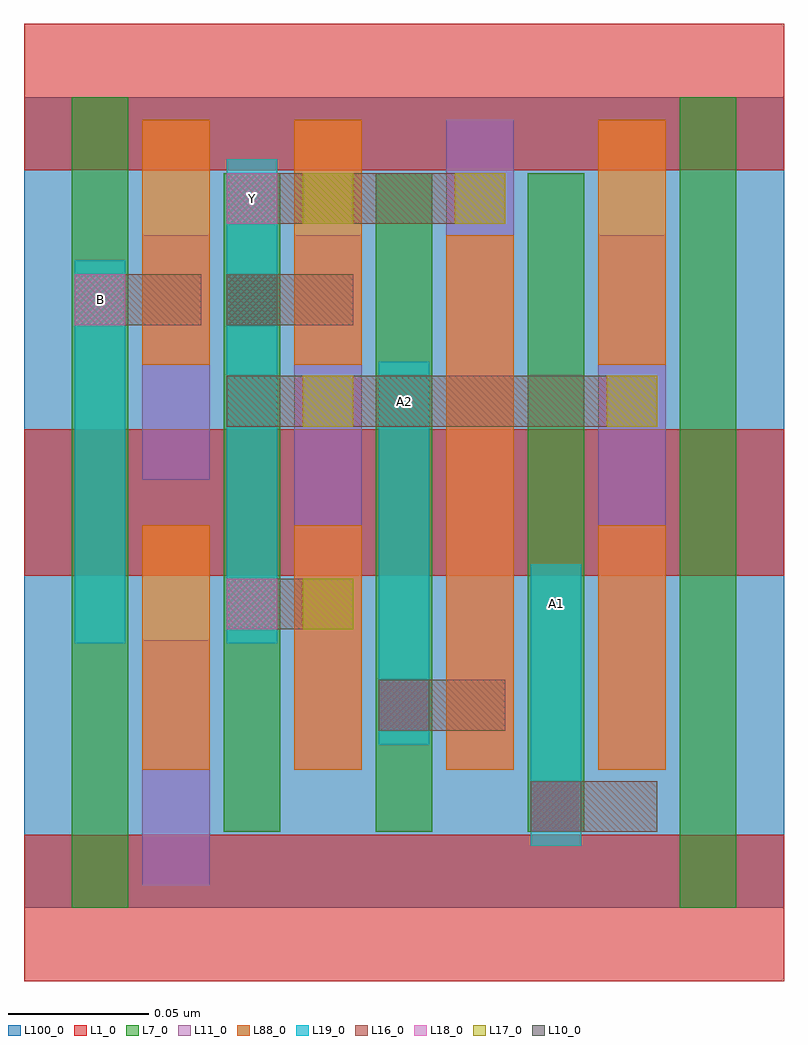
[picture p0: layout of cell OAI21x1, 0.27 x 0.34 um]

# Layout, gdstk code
import gdstk
lib = gdstk.Library(unit=1e-6, precision=2.5e-10)
def R(c, l, rs):  # rectangles x0, y0, x1, y1
    for r in rs: c.add(gdstk.rectangle(r[:2], r[2:], *l))
def A(c, l, x, y, w, h, nx, ny, dx, dy):  # array of equal rectangles
    R(c, l, [(x+i*dx, y+j*dy, x+i*dx+w, y+j*dy+h) for i in range(nx) for j in range(ny)])
L1_0 = (1, 0)
L7_0 = (7, 0)
L10_0 = (10, 0)
L11_0 = (11, 0)
L16_0 = (16, 0)
L17_0 = (17, 0)
L18_0 = (18, 0)
L19_0 = (19, 0)
L88_0 = (88, 0)
L100_0 = (100, 0)

oai21x1 = lib.new_cell('OAI21x1')
A(oai21x1, L1_0, 0, -0.026, 0.27, 0.052, 1, 3, 0, 0.144)
A(oai21x1, L7_0, 0.071, 0.027, 0.02, 0.117, 3, 2, 0.054, 0.117)
R(oai21x1, L7_0, [(0.017,0,0.037,0.144), (0.233,0,0.253,0.144), (0.017,0.144,0.037,0.288), (0.233,0.144,0.253,0.288)])
R(oai21x1, L10_0, [(0.18,0.027,0.198,0.045), (0.126,0.063,0.144,0.081), (0.072,0.207,0.09,0.225)])
A(oai21x1, L11_0, 0.096, 0.049, 0.024, 0.095, 3, 1, 0.054, 0)
R(oai21x1, L11_0, [(0.042,0.008,0.066,0.095), (0.096,0.144,0.12,0.239), (0.15,0.144,0.174,0.28), (0.204,0.144,0.228,0.239), (0.042,0.152,0.066,0.239)])
R(oai21x1, L16_0, [(0.18,0.027,0.225,0.045), (0.126,0.063,0.171,0.081), (0.072,0.099,0.117,0.117), (0.072,0.171,0.225,0.189), (0.018,0.207,0.063,0.225), (0.072,0.207,0.117,0.225), (0.072,0.243,0.171,0.261)])
A(oai21x1, L17_0, 0.099, 0.099, 0.018, 0.018, 1, 3, 0, 0.072)
R(oai21x1, L17_0, [(0.207,0.171,0.225,0.189), (0.153,0.243,0.171,0.261)])
R(oai21x1, L18_0, [(0.18,0.027,0.198,0.045), (0.126,0.063,0.144,0.081), (0.072,0.099,0.09,0.117), (0.018,0.207,0.036,0.225), (0.072,0.243,0.09,0.261)])
R(oai21x1, L19_0, [(0.18,0.022,0.198,0.122), (0.126,0.058,0.144,0.194), (0.018,0.094,0.036,0.23), (0.072,0.094,0.09,0.266)])
R(oai21x1, L88_0, [(0.042,0.049,0.066,0.136), (0.096,0.049,0.12,0.136), (0.15,0.049,0.174,0.144), (0.204,0.049,0.228,0.136), (0.15,0.144,0.174,0.239), (0.042,0.193,0.066,0.28), (0.096,0.193,0.12,0.28), (0.204,0.193,0.228,0.28)])
R(oai21x1, L100_0, [(0,0,0.27,0.288)])
oai21x1.add(gdstk.Label('A1', (0.189,0.108), layer=19, texttype=251))
oai21x1.add(gdstk.Label('A2', (0.135,0.18), layer=19, texttype=251))
oai21x1.add(gdstk.Label('B', (0.027,0.216), layer=19, texttype=251))
oai21x1.add(gdstk.Label('Y', (0.081,0.252), layer=19, texttype=251))

lib.write_gds('OAI21x1.gds')
